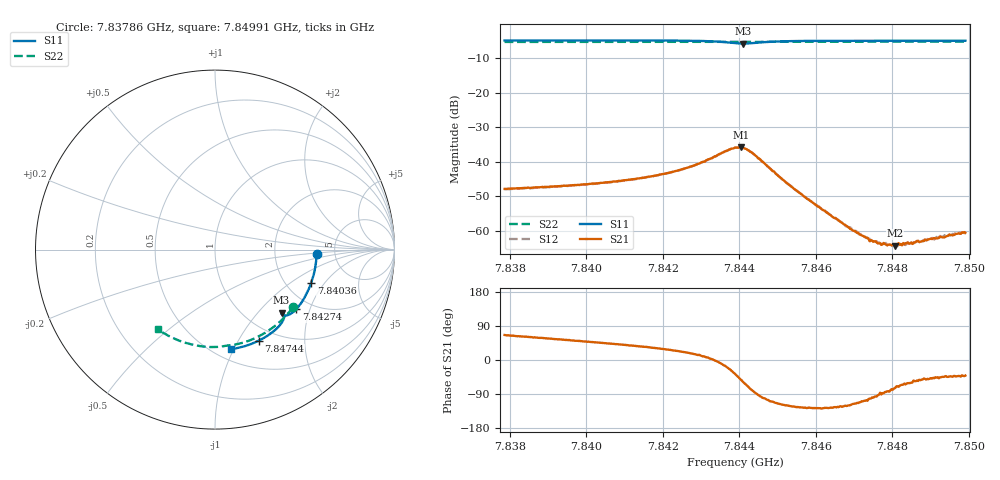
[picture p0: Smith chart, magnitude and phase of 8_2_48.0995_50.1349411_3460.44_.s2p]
#  HZ  S  RI  R  50.00
! Rohde & Schwarz Vector Network Analyzer
! Rohde-Schwarz,ZNB20-2Port,1311601062101988,3.16
! Created: UTC 12/23/2023, 3:35:22 AM
! freq[Hz]  re:S11  im:S11  re:S21  im:S21  re:S12  im:S12  re:S22  im:S22
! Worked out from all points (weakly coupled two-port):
!   401 points, 7.83786 GHz to 7.84991 GHz, reference 50 ohm
!   highest |S21| = -35.80 dB at 7.84404 GHz (marker M1); lowest = -64.3 dB at 7.84807 GHz (marker M2)
!   lowest |S11| = -5.8 dB at 7.8441 GHz (marker M3), VSWR 3.09, Z = 71.1 - j67.7 ohm
!   |S11| at or under -10 dB: nowhere
!   |S22| runs from -5.4 to -5.3 dB; largest |S21 - S12| = 0.00029
!   S11 on the Smith chart (normalised r, x): 7.83786 GHz: 3.60, -0.24; 7.84036 GHz: 2.71, -1.49; 7.84274 GHz: 1.67, -1.62; 7.84744 GHz: 0.82, -1.22; 7.84991 GHz: 0.60, -0.97
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7.837862e9  0.5664 -0.0226  0.00165 0.0037  0.00169 0.00363  0.4341 -0.3211
7.839879e9  0.5454 -0.1555  0.00303 0.00357  0.00298 0.00356  0.3366 -0.4232
7.840361e9  0.5354 -0.1867  0.00346 0.00351  0.00339 0.00347  0.3097 -0.4436
7.841295e9  0.5105 -0.2454  0.00453 0.00342  0.00447 0.00338  0.2541 -0.4781
7.841897e9  0.4899 -0.2824  0.00559 0.00329  0.00553 0.00326  0.2158 -0.4967
7.84274e9  0.4525 -0.3319  0.00814 0.00257  0.00809 0.00253  0.1602 -0.5173
7.843463e9  0.4041 -0.3655  0.0128 -0.00135  0.0125 -0.00137  0.1105 -0.5291
7.843885e9  0.3727 -0.3611  0.0129 -0.00949  0.0129 -0.00941  0.0825 -0.5327
7.844035e9  0.3701 -0.3539  0.0101 -0.0127  0.0101 -0.0125  0.0731 -0.5338
7.844096e9  0.3708 -0.3519  0.00842 -0.0134  0.00856 -0.0133  0.0694 -0.5345
7.844337e9  0.3801 -0.3534  0.00223 -0.0133  0.00233 -0.0132  0.0542 -0.5371
7.84518e9  0.3695 -0.4108  -0.00254 -0.00459  -0.00253 -0.00462  -0.00455 -0.5428
7.845903e9  0.333 -0.4495  -0.00156 -0.00208  -0.00157 -0.0021  -0.0557 -0.5409
7.846806e9  0.2816 -0.4865  -0.00061 -0.000999  -0.000575 -0.001  -0.1185 -0.5313
7.847438e9  0.2439 -0.5074  -0.000146 -0.000722  -0.000136 -0.000721  -0.1616 -0.5203
7.847679e9  0.2292 -0.5141  4.21e-05 -0.00066  1.59e-06 -0.000667  -0.1779 -0.5151
7.84792e9  0.2142 -0.5208  7.14e-05 -0.00063  0.000104 -0.000619  -0.1936 -0.5095
7.848071e9  0.2049 -0.5245  0.000169 -0.000586  0.000174 -0.000585  -0.2036 -0.5056
7.848493e9  0.1782 -0.5342  0.000342 -0.00059  0.000335 -0.000595  -0.2309 -0.4942
7.849155e9  0.1356 -0.5465  0.00054 -0.000563  0.000549 -0.000607  -0.2723 -0.473
7.849697e9  0.1002 -0.5538  0.000668 -0.000617  0.000664 -0.00062  -0.3047 -0.4533
7.849908e9  0.0864 -0.556  0.000708 -0.000615  0.000691 -0.000619  -0.3168 -0.4448
